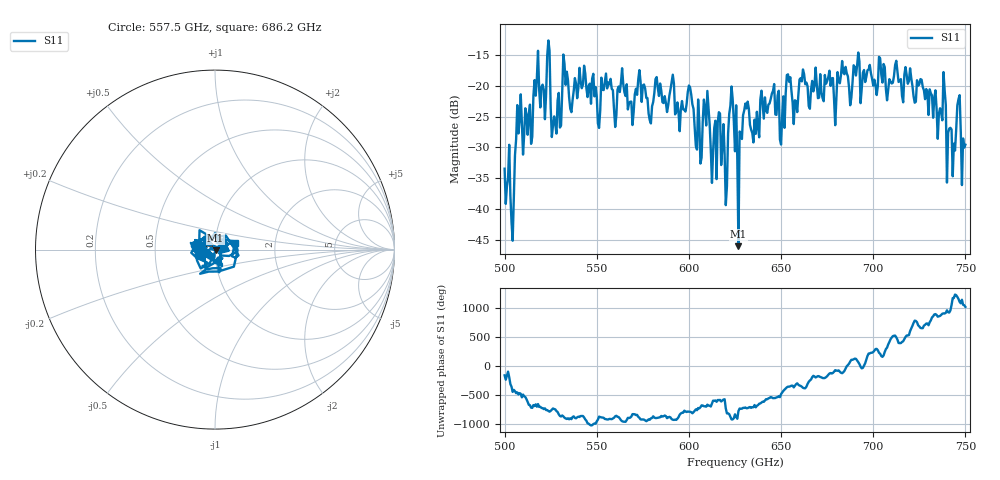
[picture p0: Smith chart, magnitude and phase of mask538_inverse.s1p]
!Created with skrf (http://scikit-rf.org).
# GHz S MA R 50.0
!freq magS11 angS11
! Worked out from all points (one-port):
!   401 points, 500 GHz to 750 GHz, reference 50 ohm
!   lowest |S11| = -46.0 dB at 626.9 GHz (marker M1), VSWR 1.01, Z = 50.3 - j0.42 ohm
!   |S11| at or under -10 dB: start of sweep to end of sweep
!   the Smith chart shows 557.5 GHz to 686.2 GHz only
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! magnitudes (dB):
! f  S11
! 500 GHz  -33.4
! 504.4 GHz  -45.1
! 507.5 GHz  -27.7
! 513.8 GHz  -23.1
! 516.9 GHz  -21.6
! 523.8 GHz  -12.7
! 526.9 GHz  -25.0
! 531.2 GHz  -21.0
! 562.5 GHz  -21.0
! 579.4 GHz  -26.1
! 590.6 GHz  -19.4
! 593.8 GHz  -22.7
! 600.6 GHz  -20.3
! 605.6 GHz  -25.9
! 609.4 GHz  -26.4
! 619.4 GHz  -31.2
! 622.5 GHz  -23.2
! 625 GHz  -30.6
! 626.9 GHz  -46.0
! 631.2 GHz  -23.7
! 635 GHz  -29.2
! 656.2 GHz  -22.7
! 687.5 GHz  -23.2
! 691.2 GHz  -16.8
! 718.8 GHz  -19.7
! 743.1 GHz  -34.7
! 746.2 GHz  -22.2
! 750 GHz  -29.6
